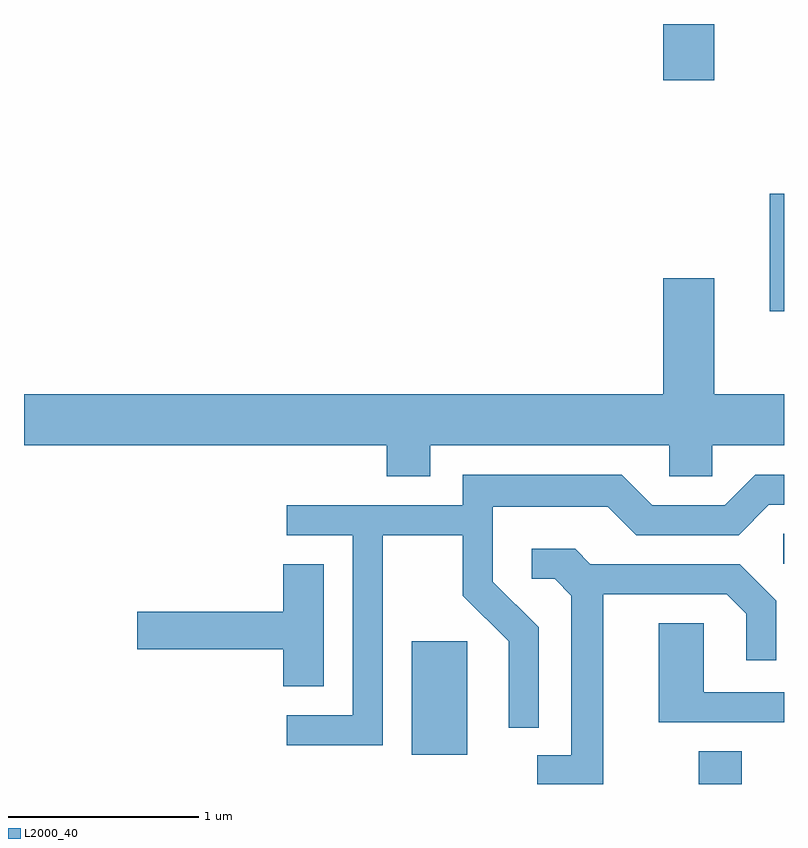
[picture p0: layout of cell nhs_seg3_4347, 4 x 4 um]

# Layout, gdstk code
import gdstk
lib = gdstk.Library(unit=1e-6, precision=1e-09)
def R(c, l, rs):  # rectangles x0, y0, x1, y1
    for r in rs: c.add(gdstk.rectangle(r[:2], r[2:], *l))
def P(c, l, *ps):  # polygons
    for p in ps: c.add(gdstk.Polygon(p, *l))
L2000_40 = (2000, 40)

nhs_seg3_4347 = lib.new_cell('nhs_seg3_4347')
R(nhs_seg3_4347, L2000_40, [(315.161,1241.892,315.389,1242.064), (313.651,1242.046,313.944,1242.644), (315.608,1243.051,315.611,1243.209), (315.536,1244.381,315.611,1244.999), (314.976,1245.596,315.244,1245.892)])
P(nhs_seg3_4347, L2000_40, [(313.749,1243.676),(315.006,1243.676),(315.006,1243.511),(315.234,1243.511),(315.234,1243.676),(315.611,1243.676),(315.611,1243.944),(315.244,1243.944),(315.244,1244.554),(314.976,1244.554),(314.976,1243.944),(311.611,1243.944),(311.611,1243.676),(313.521,1243.676),(313.521,1243.511),(313.749,1243.511)],
  [(313.499,1243.201),(313.921,1243.201),(313.921,1242.884),(314.161,1242.644),(314.161,1242.188),(314.319,1242.188),(314.319,1242.717),(314.079,1242.957),(314.079,1243.351),(314.684,1243.351),(314.834,1243.201),(315.372,1243.201),(315.532,1243.361),(315.611,1243.361),(315.611,1243.519),(315.459,1243.519),(315.299,1243.359),(314.917,1243.359),(314.757,1243.519),(313.921,1243.519),(313.921,1243.359),(312.993,1243.359),(312.993,1243.201),(313.341,1243.201),(313.341,1242.254),(312.993,1242.254),(312.993,1242.096),(313.499,1242.096)],
  [(314.659,1242.891),(315.309,1242.891),(315.411,1242.789),(315.411,1242.543),(315.569,1242.543),(315.569,1242.857),(315.377,1243.049),(314.592,1243.049),(314.512,1243.129),(314.283,1243.129),(314.283,1242.971),(314.404,1242.971),(314.491,1242.884),(314.491,1242.044),(314.313,1242.044),(314.313,1241.892),(314.659,1241.892)],
  [(313.189,1243.049),(312.976,1243.049),(312.976,1242.799),(312.206,1242.799),(312.206,1242.601),(312.976,1242.601),(312.976,1242.406),(313.189,1242.406)],
  [(315.611,1242.374),(315.189,1242.374),(315.189,1242.739),(314.951,1242.739),(314.951,1242.216),(315.611,1242.216)])

lib.write_gds('nhs_seg3_4347.gds')
